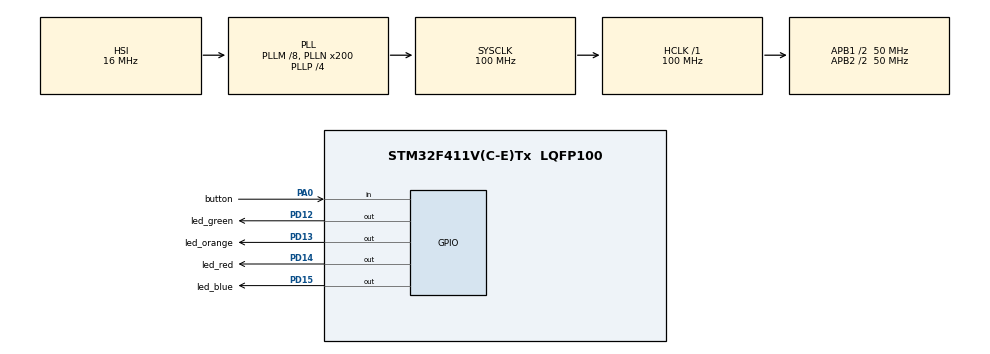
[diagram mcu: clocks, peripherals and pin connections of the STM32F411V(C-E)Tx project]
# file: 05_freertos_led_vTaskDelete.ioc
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Mcu.Family=STM32F4
Mcu.Name=STM32F411V(C-E)Tx
Mcu.Package=LQFP100
NVIC.PriorityGroup=NVIC_PRIORITYGROUP_4
NVIC.TIM5_IRQn=true\:15\:0\:false\:false\:true\:false\:true
NVIC.TimeBase=TIM5_IRQn
NVIC.TimeBaseIP=TIM5
PA0-WKUP.GPIO_Label=button
PA0-WKUP.Signal=GPIO_Input
PD12.GPIO_Label=led_green
PD12.GPIO_PuPd=GPIO_PULLUP
PD12.Signal=GPIO_Output
PD13.GPIO_Label=led_orange
PD13.GPIO_PuPd=GPIO_PULLUP
PD13.Signal=GPIO_Output
PD14.GPIO_Label=led_red
PD14.GPIO_PuPd=GPIO_PULLUP
PD14.Signal=GPIO_Output
PD15.GPIO_Label=led_blue
PD15.GPIO_PuPd=GPIO_PULLUP
PD15.Signal=GPIO_Output
ProjectManager.HeapSize=0x200
ProjectManager.StackSize=0x400
ProjectManager.TargetToolchain=STM32CubeIDE
RCC.48MHZClocksFreq_Value=50000000
RCC.AHBFreq_Value=100000000
RCC.APB1CLKDivider=RCC_HCLK_DIV2
RCC.APB1Freq_Value=50000000
RCC.APB1TimFreq_Value=100000000
RCC.APB2CLKDivider=RCC_HCLK_DIV2
RCC.APB2Freq_Value=50000000
RCC.APB2TimFreq_Value=100000000
RCC.CortexFreq_Value=100000000
RCC.HCLKFreq_Value=100000000
RCC.HSE_VALUE=8000000
RCC.HSI_VALUE=16000000
RCC.LSE_VALUE=32768
RCC.PLLI2SM=5
RCC.PLLI2SN=200
RCC.PLLM=8
RCC.PLLN=200
RCC.PLLP=RCC_PLLP_DIV4
RCC.PLLQ=8
RCC.SYSCLKFreq_VALUE=100000000
RCC.SYSCLKSource=RCC_SYSCLKSOURCE_PLLCLK
RCC.VCOOutputFreq_Value=400000000
VP_SYS_VS_tim5.Mode=TIM5
board=STM32F411E-DISCO

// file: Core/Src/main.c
/* USER CODE BEGIN Header */
/**
 ******************************************************************************
 * @file           : main.c
 * @brief          : Main program body
 ******************************************************************************
 * @attention
 *
 * Copyright (c) 2023 STMicroelectronics.
 * All rights reserved.
 *
 * This software is licensed under terms that can be found in the LICENSE file
 * in the root directory of this software component.
 * If no LICENSE file comes with this software, it is provided AS-IS.
 *
 ******************************************************************************
 */
/* USER CODE END Header */
#include "main.h"

/* USER CODE BEGIN Includes */

#include "FreeRTOS.h"
#include "task.h"

/* USER CODE END Includes */

/* USER CODE BEGIN PV */

#define DWT_CTRL    (*(volatile uint32_t*)0xE0001000)

/* USER CODE END PV */

void SystemClock_Config(void);
static void MX_GPIO_Init(void);
/* USER CODE BEGIN PFP */
static void task_led_green(void *parameter);
static void task_led_orange(void *parameter);
static void task_led_red(void *parameter);
static void task_led_blue(void *parameter);

static void task_btn(void *parameter);

TaskHandle_t taskHandle_led_green;
TaskHandle_t taskHandle_led_orange;
TaskHandle_t taskHandle_led_red;
TaskHandle_t taskHandle_led_blue;
TaskHandle_t taskHandle_btn;

volatile TaskHandle_t  next_task_handle = NULL;

/* USER CODE END PFP */

/* USER CODE BEGIN 0 */
extern void SEGGER_UART_init(uint32_t);
/* USER CODE END 0 */

int main(void) {
	/* USER CODE BEGIN 1 */

	BaseType_t status;
	/* USER CODE END 1 */

	/* MCU Configuration--------------------------------------------------------*/

	/* Reset of all peripherals, Initializes the Flash interface and the Systick. */
	HAL_Init();

	/* Configure the system clock */
	SystemClock_Config();

	/* Initialize all configured peripherals */
	MX_GPIO_Init();
	/* USER CODE BEGIN 2 */

	//Enable the CYCCNT counter.
	DWT_CTRL |= (1 << 0);

	SEGGER_SYSVIEW_Conf();
	SEGGER_SYSVIEW_Start();

	SEGGER_UART_init(500000);

	/*
	 * 		LED
	 *
	 *
	 *
	 * */
	status = xTaskCreate(task_led_green, "led_green", 200, NULL, 4,
			&taskHandle_led_green);

	configASSERT(status == pdPASS);
	next_task_handle = taskHandle_led_green;

	status = xTaskCreate(task_led_orange, "led_orange", 200, NULL, 3,
			&taskHandle_led_orange);

	configASSERT(status == pdPASS);

	status = xTaskCreate(task_led_red, "led_red", 200, NULL, 2,
			&taskHandle_led_red);

	configASSERT(status == pdPASS);
	status = xTaskCreate(task_led_blue, "led_blue", 200, NULL, 1,
			&taskHandle_led_blue);

	configASSERT(status == pdPASS);

	/*
	 * 		BUTTON
	 *
	 *
	 *
	 * */

	status = xTaskCreate(task_btn, "btn", 200, NULL, 6, &taskHandle_btn);

	configASSERT(status == pdPASS);

	vTaskStartScheduler();

	/* USER CODE END 2 */

	/* Infinite loop */
	while (1) {

	}
}

void SystemClock_Config(void) {
	RCC_OscInitTypeDef RCC_OscInitStruct = { 0 };
	RCC_ClkInitTypeDef RCC_ClkInitStruct = { 0 };

	/** Configure the main internal regulator output voltage
	 */
	__HAL_RCC_PWR_CLK_ENABLE();
	__HAL_PWR_VOLTAGESCALING_CONFIG(PWR_REGULATOR_VOLTAGE_SCALE1);
	/** Initializes the RCC Oscillators according to the specified parameters
	 * in the RCC_OscInitTypeDef structure.
	 */
	RCC_OscInitStruct.OscillatorType = RCC_OSCILLATORTYPE_HSI;
	RCC_OscInitStruct.HSIState = RCC_HSI_ON;
	RCC_OscInitStruct.HSICalibrationValue = RCC_HSICALIBRATION_DEFAULT;
	RCC_OscInitStruct.PLL.PLLState = RCC_PLL_ON;
	RCC_OscInitStruct.PLL.PLLSource = RCC_PLLSOURCE_HSI;
	RCC_OscInitStruct.PLL.PLLM = 8;
	RCC_OscInitStruct.PLL.PLLN = 200;
	RCC_OscInitStruct.PLL.PLLP = RCC_PLLP_DIV4;
	RCC_OscInitStruct.PLL.PLLQ = 8;
	if (HAL_RCC_OscConfig(&RCC_OscInitStruct) != HAL_OK) {
		Error_Handler();
	}
	/** Initializes the CPU, AHB and APB buses clocks
	 */
	RCC_ClkInitStruct.ClockType = RCC_CLOCKTYPE_HCLK | RCC_CLOCKTYPE_SYSCLK
			| RCC_CLOCKTYPE_PCLK1 | RCC_CLOCKTYPE_PCLK2;
	RCC_ClkInitStruct.SYSCLKSource = RCC_SYSCLKSOURCE_PLLCLK;
	RCC_ClkInitStruct.AHBCLKDivider = RCC_SYSCLK_DIV1;
	RCC_ClkInitStruct.APB1CLKDivider = RCC_HCLK_DIV2;
	RCC_ClkInitStruct.APB2CLKDivider = RCC_HCLK_DIV2;

	if (HAL_RCC_ClockConfig(&RCC_ClkInitStruct, FLASH_LATENCY_3) != HAL_OK) {
		Error_Handler();
	}
}

static void MX_GPIO_Init(void) {
	GPIO_InitTypeDef GPIO_InitStruct = { 0 };

	/* GPIO Ports Clock Enable */
	__HAL_RCC_GPIOA_CLK_ENABLE();
	__HAL_RCC_GPIOD_CLK_ENABLE();

	/*Configure GPIO pin Output Level */
	HAL_GPIO_WritePin(GPIOD,
	led_green_Pin | led_orange_Pin | led_red_Pin | led_blue_Pin,
			GPIO_PIN_RESET);

	/*Configure GPIO pin : button_Pin */
	GPIO_InitStruct.Pin = button_Pin;
	GPIO_InitStruct.Mode = GPIO_MODE_INPUT;
	GPIO_InitStruct.Pull = GPIO_NOPULL;
	HAL_GPIO_Init(button_GPIO_Port, &GPIO_InitStruct);

	/*Configure GPIO pins : led_green_Pin led_orange_Pin led_red_Pin led_blue_Pin */
	GPIO_InitStruct.Pin = led_green_Pin | led_orange_Pin | led_red_Pin
			| led_blue_Pin;
	GPIO_InitStruct.Mode = GPIO_MODE_OUTPUT_PP;
	GPIO_InitStruct.Pull = GPIO_PULLUP;
	GPIO_InitStruct.Speed = GPIO_SPEED_FREQ_LOW;
	HAL_GPIO_Init(GPIOD, &GPIO_InitStruct);

}

/* USER CODE BEGIN 4 */

static void task_led_green(void *parameter) {
	BaseType_t status;
	while (1) {
		SEGGER_SYSVIEW_PrintfTarget("Toggling green LED");

		HAL_GPIO_TogglePin(GPIOD, GPIO_PIN_12);
		status = xTaskNotifyWait(0, 0, NULL, pdMS_TO_TICKS(1000));
		if (status == pdTRUE) {
			vTaskSuspendAll();
			next_task_handle = taskHandle_led_orange;
			xTaskResumeAll();

			HAL_GPIO_WritePin(GPIOD, led_green_Pin, GPIO_PIN_SET);

			SEGGER_SYSVIEW_PrintfTarget("delete green LED");

			vTaskDelete(NULL);
		}
	}
}

static void task_led_orange(void *parameter) {

	BaseType_t status;
	while (1) {
		SEGGER_SYSVIEW_PrintfTarget("Toggling orange LED");

		HAL_GPIO_TogglePin(GPIOD, led_orange_Pin);
		status = xTaskNotifyWait(0, 0, NULL, pdMS_TO_TICKS(500));
		if (status == pdTRUE) {
			vTaskSuspendAll();

			next_task_handle = taskHandle_led_red;

			xTaskResumeAll();
			HAL_GPIO_WritePin(GPIOD, led_orange_Pin, GPIO_PIN_SET);
			SEGGER_SYSVIEW_PrintfTarget("delete orange LED");

			vTaskDelete(NULL);
		}
	}
}

static void task_led_red(void *parameter) {

	BaseType_t status;
	while (1) {
		SEGGER_SYSVIEW_PrintfTarget("Toggling red LED");

		HAL_GPIO_TogglePin(GPIOD, led_red_Pin);
		status = xTaskNotifyWait(0, 0, NULL, pdMS_TO_TICKS(250));
		if (status == pdTRUE) {
			vTaskSuspendAll();
			next_task_handle = taskHandle_led_blue;
			xTaskResumeAll();

			HAL_GPIO_WritePin(GPIOD, led_red_Pin, GPIO_PIN_SET);
			SEGGER_SYSVIEW_PrintfTarget("delete red LED");
			vTaskDelete(NULL);
		}
	}
}

static void task_led_blue(void *parameter) {

	BaseType_t status;
	while (1) {
		SEGGER_SYSVIEW_PrintfTarget("Toggling blue LED");

		HAL_GPIO_TogglePin(GPIOD, led_blue_Pin);
		status = xTaskNotifyWait(0, 0, NULL, pdMS_TO_TICKS(125));
		if (status == pdTRUE) {
			vTaskSuspendAll();
			next_task_handle = NULL;
			xTaskResumeAll();

			HAL_GPIO_WritePin(GPIOD, led_blue_Pin, GPIO_PIN_SET);
			SEGGER_SYSVIEW_PrintfTarget("delete blue LED");
			vTaskDelete(NULL);
			SEGGER_SYSVIEW_PrintfTarget("delete button");
			vTaskDelete(taskHandle_btn);

		}
	}
}

static void task_btn(void *parameter) {

	uint8_t btn_read = 0;
	uint8_t btn_read_prev = 0;

	while (1) {

		btn_read = HAL_GPIO_ReadPin(button_GPIO_Port, button_Pin);
		if (btn_read) {

			SEGGER_SYSVIEW_PrintfTarget("button task");
			if (!btn_read_prev) {
				xTaskNotify(next_task_handle, 0, eNoAction);
			}
		}
		btn_read_prev = btn_read;
		vTaskDelay(pdMS_TO_TICKS(10));
	}

}

/* USER CODE END 4 */

void HAL_TIM_PeriodElapsedCallback(TIM_HandleTypeDef *htim) {
	if (htim->Instance == TIM5) {
		HAL_IncTick();
	}
}

void Error_Handler(void) {
	__disable_irq();
	while (1) {
	}
}
